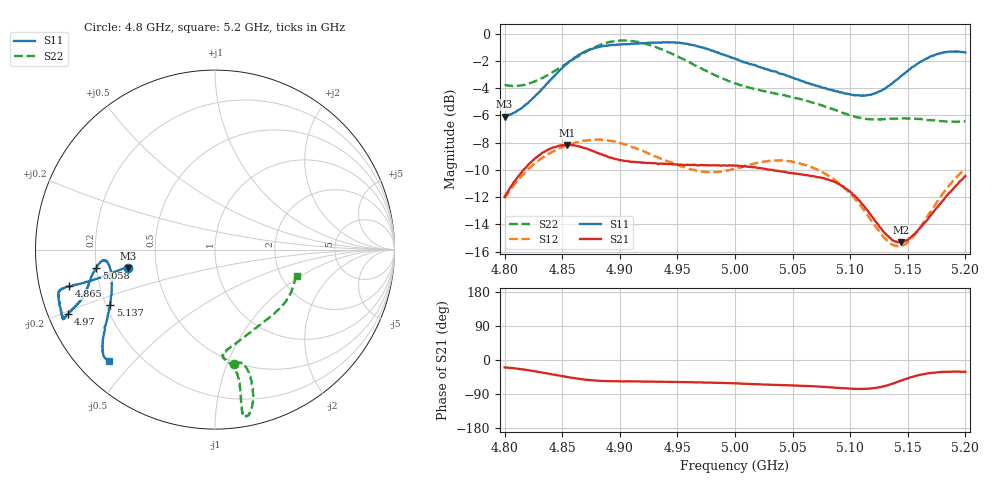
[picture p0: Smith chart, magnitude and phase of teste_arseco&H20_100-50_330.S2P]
! Network Analyzer HP8722D
! Hewlett-Packard
! Data name: Linha & Wilkinson
! Saver's name: Rodrigo Anjos
! Comments: Teste da utilização de aquisição
! continua pelo VNA HP8722D
! Time and date: 6/5/2025 15:19
!  Frequency  S11  S21  S12  S22
# HZ  S  MA R 50
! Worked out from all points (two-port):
!   401 points, 4.8 GHz to 5.2 GHz, reference 50 ohm
!   highest |S21| = -8.17 dB at 4.854 GHz (marker M1); lowest = -15.3 dB at 5.144 GHz (marker M2)
!   |S21| within 3 dB of the highest: 4.806 GHz to 5.092 GHz (286.4 MHz wide, 5.79 % of centre); 5.191729 GHz to end of sweep
!   lowest |S11| = -6.1 dB at 4.8 GHz (marker M3), VSWR 2.97, Z = 17 - j4.6 ohm
!   |S11| at or under -10 dB: nowhere
!   |S22| runs from -6.5 to -0.5 dB; largest |S21 - S12| = 0.62
!   S11 on the Smith chart (normalised r, x): 4.8 GHz: 0.34, -0.09; 4.865 GHz: 0.09, -0.12; 4.97 GHz: 0.06, -0.21; 5.058 GHz: 0.20, -0.07; 5.137 GHz: 0.22, -0.24; 5.2 GHz: 0.09, -0.43
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4.8e9  0.4966 -168.1  0.2521 -19.6  0.2483 -140.8  0.647 -80.3
4.828e9  0.5999 -167.0  0.3527 -30.6  0.3386 -144.8  0.6742 -75.4
4.854e9  0.776 -165.8  0.3906 -44.9  0.3891 -149.8  0.7786 -74.7
4.865e9  0.8378 -166.0  0.3855 -49.8  0.4016 -151.6  0.8321 -75.2
4.867e9  0.8482 -165.9  0.384 -50.8  0.4026 -151.9  0.8437 -75.4
4.898e9  0.9109 -163.0  0.3458 -56.2  0.3982 -156.3  0.9435 -78.9
4.914e9  0.9196 -159.6  0.3382 -56.4  0.379 -156.9  0.9357 -80.2
4.934e9  0.9283 -156.4  0.3329 -57.4  0.3507 -155.5  0.8837 -80.5
4.949e9  0.9262 -155.4  0.3314 -57.8  0.3316 -152.9  0.8307 -80.1
4.97e9  0.8931 -156.2  0.3295 -59.1  0.3122 -146.9  0.7484 -79.6
5e9  0.8101 -159.0  0.3274 -61.8  0.3195 -137.1  0.6566 -81.2
5.034e9  0.7276 -165.1  0.3143 -65.7  0.3421 -134.3  0.6053 -85.5
5.058e9  0.6697 -171.1  0.3044 -68.0  0.3321 -135.9  0.5737 -84.5
5.067e9  0.6519 -172.9  0.3002 -69.1  0.3229 -136.7  0.5586 -82.7
5.087e9  0.6156 -174.3  0.285 -73.1  0.2893 -138.5  0.5245 -74.8
5.103e9  0.5959 -171.4  0.2555 -76.1  0.2506 -138.7  0.4978 -65.3
5.118e9  0.5973 -164.4  0.2159 -74.9  0.2069 -134.5  0.4852 -54.4
5.134e9  0.6461 -154.2  0.1785 -65.3  0.1709 -120.7  0.4861 -43.3
5.137e9  0.66 -152.2  0.1739 -62.3  0.1676 -116.9  0.488 -41.5
5.144e9  0.6985 -148.8  0.1712 -54.6  0.1659 -107.5  0.4889 -37.5
5.172e9  0.8326 -138.9  0.2208 -33.5  0.2291 -81.1  0.4809 -24.5
5.2e9  0.8537 -133.6  0.3001 -31.3  0.3185 -76.8  0.4774 -17.6
